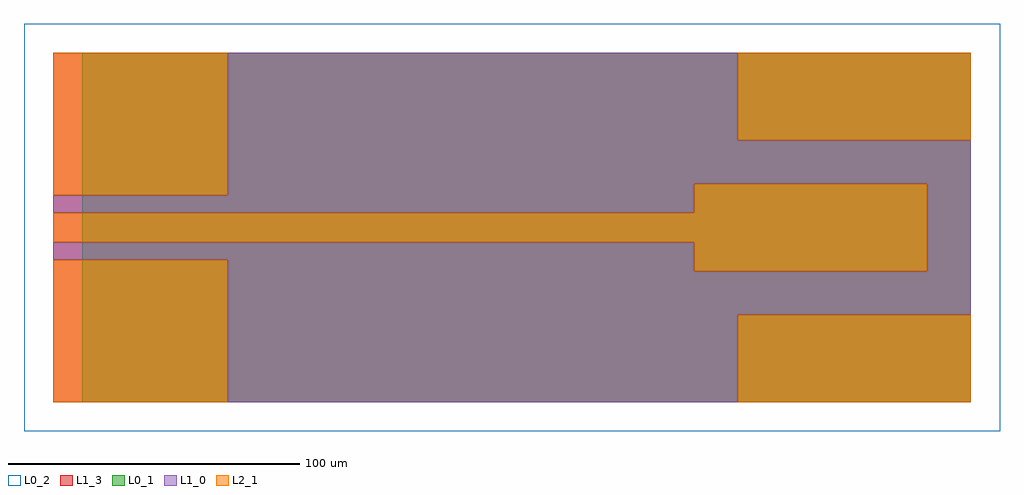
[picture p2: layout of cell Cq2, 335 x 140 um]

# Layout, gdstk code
import gdstk
lib = gdstk.Library(unit=1e-6, precision=1e-09)
def R(c, l, rs):  # rectangles x0, y0, x1, y1
    for r in rs: c.add(gdstk.rectangle(r[:2], r[2:], *l))
def P(c, l, *ps):  # polygons
    for p in ps: c.add(gdstk.Polygon(p, *l))
L0_1 = (0, 1)
L0_2 = (0, 2)
L1_0 = (1, 0)
L1_3 = (1, 3)
L2_1 = (2, 1)

cq2 = lib.new_cell('Cq2')
R(cq2, L0_1, [(-147.5,-60,157.5,60)])
R(cq2, L0_2, [(-167.5,-70,167.5,70)])
P(cq2, L1_0, [(-97.5,-60),(-97.5,-11),(-157.5,-11),(-157.5,-5),(62.5,-5),(62.5,-15),(142.5,-15),(142.5,15),(62.5,15),(62.5,5),(-157.5,5),(-157.5,11),(-97.5,11),(-97.5,60),(77.5,60),(77.5,30),(157.5,30),(157.5,-30),(77.5,-30),(77.5,-60)])
R(cq2, L1_3, [(-157.5,-60,157.5,60)])
R(cq2, L2_1, [(-157.5,-60,-97.5,-11), (77.5,-60,157.5,-30), (-157.5,11,-97.5,60), (77.5,30,157.5,60)])
P(cq2, L2_1, [(62.5,-15),(62.5,-5),(-157.5,-5),(-157.5,5),(62.5,5),(62.5,15),(142.5,15),(142.5,-15)])

lib.write_gds('Cq2.gds')
